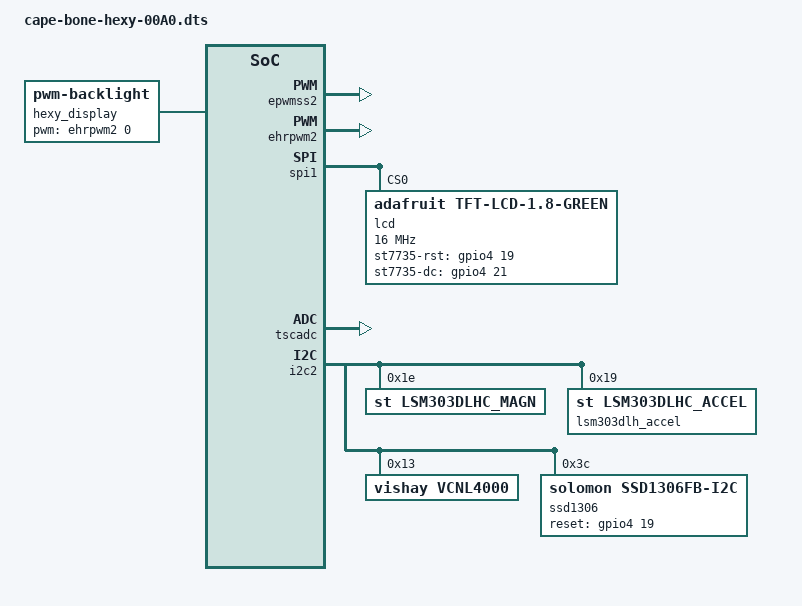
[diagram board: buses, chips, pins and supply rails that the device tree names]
/*
* Copyright (C) 2013 Matt Ranostay <mranostay@gmail.com>
* Copyright (C) 2013 Koen Kooi <koen@circuitco.com>
*
* This program is free software; you can redistribute it and/or modify
* it under the terms of the GNU General Public License version 2 as
* published by the Free Software Foundation.
*/
/dts-v1/;
/plugin/;

/*
 * Pin assignments
 *
 * Module      Connector
 * LITE    <-  P8.19
 * MISO    ->  P9.29
 * SCK     <-  P9.31
 * MOSI    <-  P9.30
 * TFT_CS  <-  P9.28
 * CARD_CS <-  NC
 * D/C     <-  P9.25
 * RESET   <-  P9.27
 *
 */

/ {
	compatible = "ti,beaglebone", "ti,beaglebone-black";
	part-number = "BB-BONE-HEXY-01";
	version = "00A0";

	fragment@0 {
		target = <&am33xx_pinmux>;
		__overlay__ {
			pwm_backlight_pins: pinmux_pwm_backlight_pins {
				pinctrl-single,pins = <
					0x020  0x4      /* gpmc_ad8.gpio0_22 | MODE4 */
				>;
			};

			bone_hexy_lcd_pins: pinmux_bone_hexy_lcd_pins {
				pinctrl-single,pins = <
					0x1a4 0x17      /* mcasp0_fsr.gpio3_19, OUTPUT_PULLUP | MODE7 */
					0x1ac 0x17      /* mcasp0_ahclkx.gpio3_21, OUTPUT_PULLUP | MODE7 */
				>;
			};

			bone_hexy_spi1_pins: pinmux_adafruit_spi1_pins {
				pinctrl-single,pins = <
					0x190 0x33	/* mcasp0_aclkx.spi1_sclk, INPUT_PULLUP | MODE3 */
					0x194 0x33	/* mcasp0_fsx.spi1_d0, INPUT_PULLUP | MODE3 */
					0x198 0x13	/* mcasp0_axr0.spi1_d1, OUTPUT_PULLUP | MODE3 */
					0x19c 0x13	/* mcasp0_ahclkr.spi1_cs0, OUTPUT_PULLUP | MODE3 */
				>;
			};
		};
	};

	fragment@1 {
		target = <&epwmss2>;
		__overlay__ {
			status = "okay";
		};
	};

	fragment@2 {
		target = <&ehrpwm2>;
		__overlay__ {
			status = "okay";
		};
	};


	fragment@3 {
		target = <&spi1>;

		__overlay__ {
			#address-cells = <1>;
			#size-cells = <0>;

			status		= "okay";
			pinctrl-names	= "default";
			pinctrl-0	= <&bone_hexy_spi1_pins>;

			lcd@0 {
				#address-cells = <1>;
				#size-cells = <0>;

				compatible = "adafruit,tft-lcd-1.8-green", "sitronix,st7735";
				reg = <0>;

				spi-max-frequency = <16000000>;
				spi-cpol;
				spi-cpha;

				pinctrl-names = "default";
				pinctrl-0 = <&bone_hexy_lcd_pins>;

				st7735-rst = <&gpio4 19 0>;
				st7735-dc = <&gpio4 21 0>;
			};
		};
	};

	fragment@4 {
		target = <&ocp>;

		/* avoid stupid warning */
		#address-cells = <1>;
		#size-cells = <1>;

		__overlay__ {
			hexy_display {
				compatible	= "pwm-backlight";
				pinctrl-names	= "default";
				pinctrl-0	= <&pwm_backlight_pins>;

				pwms = <&ehrpwm2 0 500000 0>;

				pwm-names = "st7735fb";
				brightness-levels = <0 1 2 3 4 5 6 7 8 9 10 11 12 13 14 15 16 17 18 19 20 21 22 23 24 25 26 27 28 29 30 31 32 33 34 35 36 37 38 39 40 41 42 43 44 45 46 47 48 49 50 51 52 53 54 55 56 57 58 59 60 61 62 63 64 65 66 67 68 69 70 71 72 73 74 75 76 77 78 79 80 81 82 83 84 85 86 87 88 89 90 91 92 93 94 95 96 97 98 99 100>;
				default-brightness-level = <50>; /* index to the array above */
			};
		};
	};

	fragment@5 {
		target = <&i2c2>;

		__overlay__ {
			/* needed to avoid gripping by DTC */
			#address-cells = <1>;
			#size-cells = <0>;

			lsm303dlhc_magn@1e {
				compatible = "st,lsm303dlhc_magn";
				reg = <0x1E>;
			};

			lsm303dlh_accel@1e {
				compatible = "st,lsm303dlhc_accel";
				reg = <0x19>;
			};

			vcnl4000@13 {
				compatible = "vishay,vcnl4000";
				reg = <0x13>;
			};

			ssd1306: oled@3c {
				compatible = "solomon,ssd1306fb-i2c";
				reg = <0x3c>;
				reset-gpios = <&gpio4 19 0>;
				solomon,height = <32>;
				solomon,width = <128>;
				solomon,page-offset = <0>;
			};
		};
	};

	fragment@6 {
		target = <&ocp>;
		__overlay__ {
			/* avoid stupid warning */
			#address-cells = <1>;
			#size-cells = <1>;

			tscadc {
				compatible = "ti,ti-tscadc";
				reg = <0x44e0d000 0x1000>;

				interrupt-parent = <&intc>;
				interrupts = <16>;
				ti,hwmods = "adc_tsc";
				status = "okay";

				adc {
					ti,adc-channels = <0 1 2 3 4 5 6 7>;
				};
			};

			test_helper: helper {
				compatible = "bone-iio-helper";
				vsense-name  = "AIN0", "AIN1", "AIN2", "AIN3", "AIN4", "AIN5", "AIN6", "AIN7";
				vsense-scale = <100     100     100     100     100     100     100     100>;
				status = "okay";
			};
		};
	};
};
